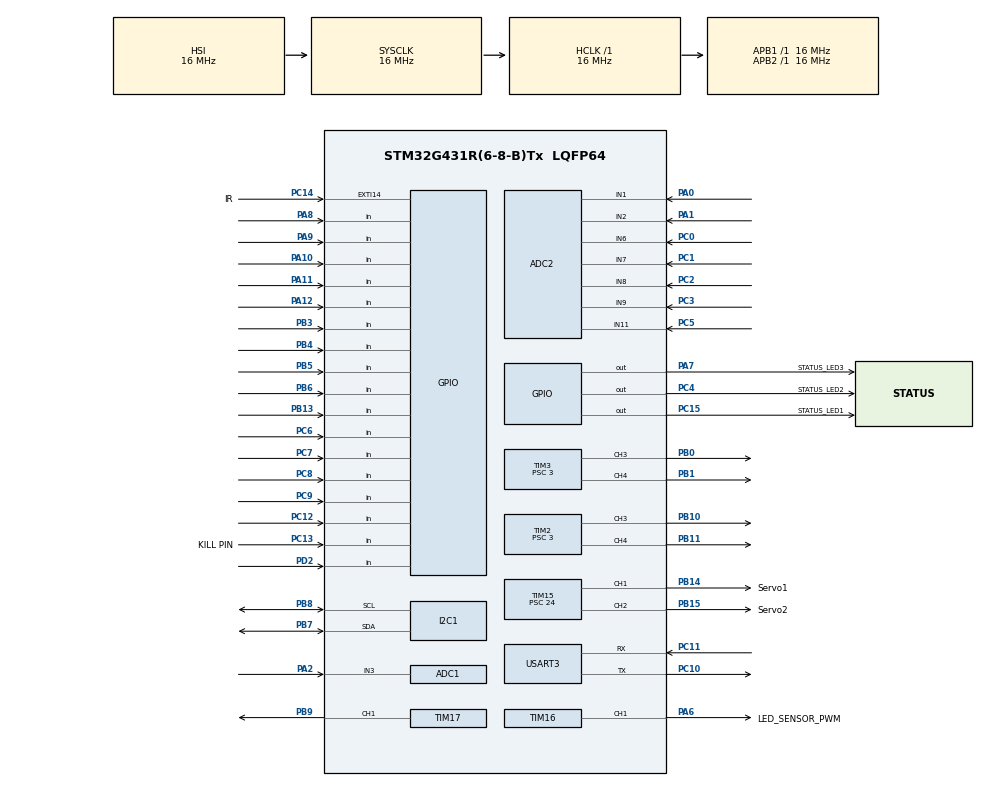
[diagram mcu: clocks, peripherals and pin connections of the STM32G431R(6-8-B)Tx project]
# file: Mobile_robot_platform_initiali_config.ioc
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ADC1.Channel-1\#ChannelRegularConversion=ADC_CHANNEL_3
ADC1.NbrOfConversionFlag=1
ADC1.OffsetNumber-1\#ChannelRegularConversion=ADC_OFFSET_NONE
ADC1.Rank-1\#ChannelRegularConversion=1
ADC1.SamplingTime-1\#ChannelRegularConversion=ADC_SAMPLETIME_2CYCLES_5
ADC1.master=1
ADC2.Channel-1\#ChannelRegularConversion=ADC_CHANNEL_1
ADC2.NbrOfConversionFlag=1
ADC2.OffsetNumber-1\#ChannelRegularConversion=ADC_OFFSET_NONE
ADC2.Rank-1\#ChannelRegularConversion=1
ADC2.SamplingTime-1\#ChannelRegularConversion=ADC_SAMPLETIME_2CYCLES_5
I2C1.Timing=0x00503D58
Mcu.Family=STM32G4
Mcu.Name=STM32G431R(6-8-B)Tx
Mcu.Package=LQFP64
NVIC.PriorityGroup=NVIC_PRIORITYGROUP_4
PA0.Mode=IN1-Single-Ended
PA0.Signal=ADC2_IN1
PA1.Mode=IN2-Single-Ended
PA1.Signal=ADC2_IN2
PA10.Signal=GPIO_Input
PA11.Signal=GPIO_Input
PA12.Signal=GPIO_Input
PA13.Mode=Serial_Wire
PA13.Signal=SYS_JTMS-SWDIO
PA14.Mode=Serial_Wire
PA14.Signal=SYS_JTCK-SWCLK
PA15.Signal=SYS_JTDI
PA2.Mode=IN3-Single-Ended
PA2.Signal=ADC1_IN3
PA3.Signal=ADC1_IN4
PA4.Signal=COMP_DAC11_group
PA5.Signal=COMP_DAC12_group
PA6.GPIO_Label=LED_SENSOR_PWM
PA6.Signal=S_TIM16_CH1
PA7.GPIO_Label=STATUS_LED3
PA7.Signal=GPIO_Output
PA8.Signal=GPIO_Input
PA9.Signal=GPIO_Input
PB0.Signal=S_TIM3_CH3
PB1.Signal=S_TIM3_CH4
PB10.Signal=S_TIM2_CH3
PB11.Signal=S_TIM2_CH4
PB12.Signal=ADC1_IN11
PB13.Signal=GPIO_Input
PB14.GPIO_Label=Servo1
PB14.Signal=S_TIM15_CH1
PB15.GPIO_Label=Servo2
PB15.Signal=S_TIM15_CH2
PB2.GPIO_Label=V_VHK
PB2.Signal=ADC2_IN12
PB3.Signal=GPIO_Input
PB4.Signal=GPIO_Input
PB5.Signal=GPIO_Input
PB6.Signal=GPIO_Input
PB7.Mode=I2C
PB7.Signal=I2C1_SDA
PB8-BOOT0.Mode=I2C
PB8-BOOT0.Signal=I2C1_SCL
PB9.Signal=S_TIM17_CH1
PC0.Mode=IN6-Single-Ended
PC0.Signal=ADC2_IN6
PC1.Mode=IN7-Single-Ended
PC1.Signal=ADC2_IN7
PC10.Mode=Asynchronous
PC10.Signal=USART3_TX
PC11.Mode=Asynchronous
PC11.Signal=USART3_RX
PC12.Signal=GPIO_Input
PC13.GPIO_Label=KILL PIN
PC13.Signal=GPIO_Input
PC14-OSC32_IN.GPIO_Label=IR
PC14-OSC32_IN.Signal=GPXTI14
PC15-OSC32_OUT.GPIO_Label=STATUS_LED1
PC15-OSC32_OUT.Signal=GPIO_Output
PC2.Mode=IN8-Single-Ended
PC2.Signal=ADC2_IN8
PC3.Mode=IN9-Single-Ended
PC3.Signal=ADC2_IN9
PC4.GPIO_Label=STATUS_LED2
PC4.Signal=GPIO_Output
PC5.Mode=IN11-Single-Ended
PC5.Signal=ADC2_IN11
PC6.Signal=GPIO_Input
PC7.Signal=GPIO_Input
PC8.Signal=GPIO_Input
PC9.Signal=GPIO_Input
PD2.Signal=GPIO_Input
ProjectManager.HeapSize=0x200
ProjectManager.StackSize=0x400
ProjectManager.TargetToolchain=STM32CubeIDE
RCC.AHBFreq_Value=16000000
RCC.APB1Freq_Value=16000000
RCC.APB1TimFreq_Value=16000000
RCC.APB2Freq_Value=16000000
RCC.APB2TimFreq_Value=16000000
RCC.CortexFreq_Value=16000000
RCC.EXTERNAL_CLOCK_VALUE=12288000
RCC.HCLKFreq_Value=16000000
RCC.HSE_VALUE=8000000
RCC.HSI48_VALUE=48000000
RCC.HSI_VALUE=16000000
RCC.LSE_VALUE=32768
RCC.SYSCLKFreq_VALUE=16000000
RCC.USBFreq_Value=64000000
RCC.VCOOutputFreq_Value=128000000
SH.COMP_DAC11_group.0=DAC1_OUT1
SH.COMP_DAC12_group.0=DAC1_OUT2
SH.S_TIM15_CH1.0=TIM15_CH1,PWM Generation1 CH1
SH.S_TIM15_CH2.0=TIM15_CH2,PWM Generation2 CH2
SH.S_TIM16_CH1.0=TIM16_CH1,PWM Generation1 CH1
SH.S_TIM17_CH1.0=TIM17_CH1,PWM Generation1 CH1
SH.S_TIM2_CH3.0=TIM2_CH3,PWM Generation3 CH3
SH.S_TIM2_CH4.0=TIM2_CH4,PWM Generation4 CH4
SH.S_TIM3_CH3.0=TIM3_CH3,PWM Generation3 CH3
SH.S_TIM3_CH4.0=TIM3_CH4,PWM Generation4 CH4
TIM15.Channel-PWM\ Generation1\ CH1=TIM_CHANNEL_1
TIM15.Channel-PWM\ Generation2\ CH2=TIM_CHANNEL_2
TIM15.PeriodNoDither=2000
TIM15.Prescaler=24
TIM15.PulseNoDither_1=1000
TIM15.PulseNoDither_2=500
TIM16.Channel=TIM_CHANNEL_1
TIM16.PeriodNoDither=2000
TIM16.Prescaler=7
TIM16.PulseNoDither_1=1000
TIM17.Channel=TIM_CHANNEL_1
TIM2.Channel-PWM\ Generation3\ CH3=TIM_CHANNEL_3
TIM2.Channel-PWM\ Generation4\ CH4=TIM_CHANNEL_4
TIM2.PeriodNoDither=2000
TIM2.Prescaler=3
TIM3.Channel-PWM\ Generation3\ CH3=TIM_CHANNEL_3
TIM3.Channel-PWM\ Generation4\ CH4=TIM_CHANNEL_4
TIM3.PeriodNoDither=2000
TIM3.Prescaler=3
TIM3.PulseNoDither_3=1000
TIM3.PulseNoDither_4=1000
USART3.VirtualMode-Asynchronous=VM_ASYNC
VP_SYS_VS_DBSignals.Mode=DisableDeadBatterySignals
VP_TIM16_VS_ClockSourceINT.Mode=Enable_Timer
VP_TIM17_VS_ClockSourceINT.Mode=Enable_Timer
board=custom

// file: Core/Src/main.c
/* USER CODE BEGIN Header */
/**
 ******************************************************************************
 * @file           : main.c
 * @brief          : Main program body
 ******************************************************************************
 * @attention
 *
 * Copyright (c) 2025 STMicroelectronics.
 * All rights reserved.
 *
 * This software is licensed under terms that can be found in the LICENSE file
 * in the root directory of this software component.
 * If no LICENSE file comes with this software, it is provided AS-IS.
 *
 ******************************************************************************
 */
/* USER CODE END Header */
#include "main.h"

/* USER CODE BEGIN Includes */
#include <string.h>
/* USER CODE END Includes */

/* USER CODE BEGIN PTD */
uint16_t MOTOR_A = 1000;
uint16_t MOTOR_B = 0;

uint16_t SERVO_A = 1000;
uint16_t SERVO_B = 0;

uint8_t rising_flag_A = 1;
uint8_t rising_flag_B = 1;
/* USER CODE END PTD */

ADC_HandleTypeDef hadc1;
ADC_HandleTypeDef hadc2;

I2C_HandleTypeDef hi2c1;

TIM_HandleTypeDef htim2;
TIM_HandleTypeDef htim3;
TIM_HandleTypeDef htim15;
TIM_HandleTypeDef htim16;
TIM_HandleTypeDef htim17;

UART_HandleTypeDef huart3;

void SystemClock_Config(void);
static void MX_GPIO_Init(void);
static void MX_ADC2_Init(void);
static void MX_ADC1_Init(void);
static void MX_I2C1_Init(void);
static void MX_TIM17_Init(void);
static void MX_USART3_UART_Init(void);
static void MX_TIM3_Init(void);
static void MX_TIM15_Init(void);
static void MX_TIM16_Init(void);
static void MX_TIM2_Init(void);

/* USER CODE BEGIN 0 */
void send_string(char *s) {
	HAL_UART_Transmit(&huart3, (uint8_t*) s, strlen(s), 1000);
}
/* USER CODE END 0 */

int main(void) {

	/* MCU Configuration--------------------------------------------------------*/

	/* Reset of all peripherals, Initializes the Flash interface and the Systick. */
	HAL_Init();

	/* Configure the system clock */
	SystemClock_Config();

	/* Initialize all configured peripherals */
	MX_GPIO_Init();
	MX_ADC2_Init();
	MX_ADC1_Init();
	MX_I2C1_Init();
	MX_TIM17_Init();
	MX_USART3_UART_Init();
	MX_TIM3_Init();
	MX_TIM15_Init();
	MX_TIM16_Init();
	MX_TIM2_Init();
	/* USER CODE BEGIN 2 */
	//MOTOR A
	HAL_TIM_PWM_Start(&htim3, TIM_CHANNEL_3);
	HAL_TIM_PWM_Start(&htim3, TIM_CHANNEL_4);

	//MOTOR B
	HAL_TIM_PWM_Start(&htim2, TIM_CHANNEL_3);
	HAL_TIM_PWM_Start(&htim2, TIM_CHANNEL_4);
	//SERVO
	HAL_TIM_PWM_Start(&htim15, TIM_CHANNEL_1);
	HAL_TIM_PWM_Start(&htim15, TIM_CHANNEL_2);

	//OUTPUT IR SENSOR MODULE
	HAL_TIM_PWM_Start(&htim16, TIM_CHANNEL_1);

	/* USER CODE END 2 */

	/* Infinite loop */
	while (1) {

		/* USER CODE BEGIN 3 */
		send_string("Hello world!\r\n");

//HAL_Delay(1000);
		__HAL_TIM_SET_COMPARE(&htim3, TIM_CHANNEL_3, MOTOR_A);
		__HAL_TIM_SET_COMPARE(&htim3, TIM_CHANNEL_4, 0);

		__HAL_TIM_SET_COMPARE(&htim2, TIM_CHANNEL_3, MOTOR_B);
		__HAL_TIM_SET_COMPARE(&htim2, TIM_CHANNEL_4, 0);

		__HAL_TIM_SET_COMPARE(&htim15, TIM_CHANNEL_1, SERVO_A);
		__HAL_TIM_SET_COMPARE(&htim15, TIM_CHANNEL_2, SERVO_B);

		if(1==rising_flag_A )
		{
			SERVO_A += 1;
			MOTOR_A += 1;
		}
		else
		{
			SERVO_A -= 1;
			MOTOR_A -= 1;
		}
		if(1==rising_flag_B )
		{
			SERVO_B += 1;
			MOTOR_B += 1;
		}
		else
		{
			SERVO_B -= 1;
			MOTOR_B -= 1;
		}

		HAL_Delay(1);

		if (SERVO_A > 2000) {
			rising_flag_A = 0;

		}
		else if(SERVO_A < 1)
		{
			rising_flag_A = 1;
		}

		if (SERVO_B > 2000) {
			rising_flag_B = 0;

		}
		else if(SERVO_B < 1)
		{
			rising_flag_B = 1;
		}

	}
	/* USER CODE END 3 */
}

void SystemClock_Config(void) {
	RCC_OscInitTypeDef RCC_OscInitStruct = { 0 };
	RCC_ClkInitTypeDef RCC_ClkInitStruct = { 0 };

	/** Configure the main internal regulator output voltage
	 */
	HAL_PWREx_ControlVoltageScaling(PWR_REGULATOR_VOLTAGE_SCALE1);

	/** Initializes the RCC Oscillators according to the specified parameters
	 * in the RCC_OscInitTypeDef structure.
	 */
	RCC_OscInitStruct.OscillatorType = RCC_OSCILLATORTYPE_HSI;
	RCC_OscInitStruct.HSIState = RCC_HSI_ON;
	RCC_OscInitStruct.HSICalibrationValue = RCC_HSICALIBRATION_DEFAULT;
	RCC_OscInitStruct.PLL.PLLState = RCC_PLL_NONE;
	if (HAL_RCC_OscConfig(&RCC_OscInitStruct) != HAL_OK) {
		Error_Handler();
	}

	/** Initializes the CPU, AHB and APB buses clocks
	 */
	RCC_ClkInitStruct.ClockType = RCC_CLOCKTYPE_HCLK | RCC_CLOCKTYPE_SYSCLK
			| RCC_CLOCKTYPE_PCLK1 | RCC_CLOCKTYPE_PCLK2;
	RCC_ClkInitStruct.SYSCLKSource = RCC_SYSCLKSOURCE_HSI;
	RCC_ClkInitStruct.AHBCLKDivider = RCC_SYSCLK_DIV1;
	RCC_ClkInitStruct.APB1CLKDivider = RCC_HCLK_DIV1;
	RCC_ClkInitStruct.APB2CLKDivider = RCC_HCLK_DIV1;

	if (HAL_RCC_ClockConfig(&RCC_ClkInitStruct, FLASH_LATENCY_0) != HAL_OK) {
		Error_Handler();
	}
}

static void MX_ADC1_Init(void) {

	ADC_MultiModeTypeDef multimode = { 0 };
	ADC_ChannelConfTypeDef sConfig = { 0 };

	/** Common config
	 */
	hadc1.Instance = ADC1;
	hadc1.Init.ClockPrescaler = ADC_CLOCK_SYNC_PCLK_DIV2;
	hadc1.Init.Resolution = ADC_RESOLUTION_12B;
	hadc1.Init.DataAlign = ADC_DATAALIGN_RIGHT;
	hadc1.Init.GainCompensation = 0;
	hadc1.Init.ScanConvMode = ADC_SCAN_DISABLE;
	hadc1.Init.EOCSelection = ADC_EOC_SINGLE_CONV;
	hadc1.Init.LowPowerAutoWait = DISABLE;
	hadc1.Init.ContinuousConvMode = DISABLE;
	hadc1.Init.NbrOfConversion = 1;
	hadc1.Init.DiscontinuousConvMode = DISABLE;
	hadc1.Init.ExternalTrigConv = ADC_SOFTWARE_START;
	hadc1.Init.ExternalTrigConvEdge = ADC_EXTERNALTRIGCONVEDGE_NONE;
	hadc1.Init.DMAContinuousRequests = DISABLE;
	hadc1.Init.Overrun = ADC_OVR_DATA_PRESERVED;
	hadc1.Init.OversamplingMode = DISABLE;
	if (HAL_ADC_Init(&hadc1) != HAL_OK) {
		Error_Handler();
	}

	/** Configure the ADC multi-mode
	 */
	multimode.Mode = ADC_MODE_INDEPENDENT;
	if (HAL_ADCEx_MultiModeConfigChannel(&hadc1, &multimode) != HAL_OK) {
		Error_Handler();
	}

	/** Configure Regular Channel
	 */
	sConfig.Channel = ADC_CHANNEL_3;
	sConfig.Rank = ADC_REGULAR_RANK_1;
	sConfig.SamplingTime = ADC_SAMPLETIME_2CYCLES_5;
	sConfig.SingleDiff = ADC_SINGLE_ENDED;
	sConfig.OffsetNumber = ADC_OFFSET_NONE;
	sConfig.Offset = 0;
	if (HAL_ADC_ConfigChannel(&hadc1, &sConfig) != HAL_OK) {
		Error_Handler();
	}

}

static void MX_ADC2_Init(void) {

	ADC_ChannelConfTypeDef sConfig = { 0 };

	/** Common config
	 */
	hadc2.Instance = ADC2;
	hadc2.Init.ClockPrescaler = ADC_CLOCK_SYNC_PCLK_DIV2;
	hadc2.Init.Resolution = ADC_RESOLUTION_12B;
	hadc2.Init.DataAlign = ADC_DATAALIGN_RIGHT;
	hadc2.Init.GainCompensation = 0;
	hadc2.Init.ScanConvMode = ADC_SCAN_DISABLE;
	hadc2.Init.EOCSelection = ADC_EOC_SINGLE_CONV;
	hadc2.Init.LowPowerAutoWait = DISABLE;
	hadc2.Init.ContinuousConvMode = DISABLE;
	hadc2.Init.NbrOfConversion = 1;
	hadc2.Init.DiscontinuousConvMode = DISABLE;
	hadc2.Init.ExternalTrigConv = ADC_SOFTWARE_START;
	hadc2.Init.ExternalTrigConvEdge = ADC_EXTERNALTRIGCONVEDGE_NONE;
	hadc2.Init.DMAContinuousRequests = DISABLE;
	hadc2.Init.Overrun = ADC_OVR_DATA_PRESERVED;
	hadc2.Init.OversamplingMode = DISABLE;
	if (HAL_ADC_Init(&hadc2) != HAL_OK) {
		Error_Handler();
	}

	/** Configure Regular Channel
	 */
	sConfig.Channel = ADC_CHANNEL_1;
	sConfig.Rank = ADC_REGULAR_RANK_1;
	sConfig.SamplingTime = ADC_SAMPLETIME_2CYCLES_5;
	sConfig.SingleDiff = ADC_SINGLE_ENDED;
	sConfig.OffsetNumber = ADC_OFFSET_NONE;
	sConfig.Offset = 0;
	if (HAL_ADC_ConfigChannel(&hadc2, &sConfig) != HAL_OK) {
		Error_Handler();
	}

}

static void MX_I2C1_Init(void) {

	hi2c1.Instance = I2C1;
	hi2c1.Init.Timing = 0x00503D58;
	hi2c1.Init.OwnAddress1 = 0;
	hi2c1.Init.AddressingMode = I2C_ADDRESSINGMODE_7BIT;
	hi2c1.Init.DualAddressMode = I2C_DUALADDRESS_DISABLE;
	hi2c1.Init.OwnAddress2 = 0;
	hi2c1.Init.OwnAddress2Masks = I2C_OA2_NOMASK;
	hi2c1.Init.GeneralCallMode = I2C_GENERALCALL_DISABLE;
	hi2c1.Init.NoStretchMode = I2C_NOSTRETCH_DISABLE;
	if (HAL_I2C_Init(&hi2c1) != HAL_OK) {
		Error_Handler();
	}

	/** Configure Analogue filter
	 */
	if (HAL_I2CEx_ConfigAnalogFilter(&hi2c1, I2C_ANALOGFILTER_ENABLE)
			!= HAL_OK) {
		Error_Handler();
	}

	/** Configure Digital filter
	 */
	if (HAL_I2CEx_ConfigDigitalFilter(&hi2c1, 0) != HAL_OK) {
		Error_Handler();
	}

}

static void MX_TIM2_Init(void) {

	TIM_MasterConfigTypeDef sMasterConfig = { 0 };
	TIM_OC_InitTypeDef sConfigOC = { 0 };

	htim2.Instance = TIM2;
	htim2.Init.Prescaler = 3;
	htim2.Init.CounterMode = TIM_COUNTERMODE_UP;
	htim2.Init.Period = 2000;
	htim2.Init.ClockDivision = TIM_CLOCKDIVISION_DIV1;
	htim2.Init.AutoReloadPreload = TIM_AUTORELOAD_PRELOAD_DISABLE;
	if (HAL_TIM_PWM_Init(&htim2) != HAL_OK) {
		Error_Handler();
	}
	sMasterConfig.MasterOutputTrigger = TIM_TRGO_RESET;
	sMasterConfig.MasterSlaveMode = TIM_MASTERSLAVEMODE_DISABLE;
	if (HAL_TIMEx_MasterConfigSynchronization(&htim2, &sMasterConfig)
			!= HAL_OK) {
		Error_Handler();
	}
	sConfigOC.OCMode = TIM_OCMODE_PWM1;
	sConfigOC.Pulse = 0;
	sConfigOC.OCPolarity = TIM_OCPOLARITY_HIGH;
	sConfigOC.OCFastMode = TIM_OCFAST_DISABLE;
	if (HAL_TIM_PWM_ConfigChannel(&htim2, &sConfigOC, TIM_CHANNEL_3)
			!= HAL_OK) {
		Error_Handler();
	}
	if (HAL_TIM_PWM_ConfigChannel(&htim2, &sConfigOC, TIM_CHANNEL_4)
			!= HAL_OK) {
		Error_Handler();
	}
	HAL_TIM_MspPostInit(&htim2);

}

static void MX_TIM3_Init(void) {

	TIM_MasterConfigTypeDef sMasterConfig = { 0 };
	TIM_OC_InitTypeDef sConfigOC = { 0 };

	htim3.Instance = TIM3;
	htim3.Init.Prescaler = 3;
	htim3.Init.CounterMode = TIM_COUNTERMODE_UP;
	htim3.Init.Period = 2000;
	htim3.Init.ClockDivision = TIM_CLOCKDIVISION_DIV1;
	htim3.Init.AutoReloadPreload = TIM_AUTORELOAD_PRELOAD_DISABLE;
	if (HAL_TIM_PWM_Init(&htim3) != HAL_OK) {
		Error_Handler();
	}
	sMasterConfig.MasterOutputTrigger = TIM_TRGO_RESET;
	sMasterConfig.MasterSlaveMode = TIM_MASTERSLAVEMODE_DISABLE;
	if (HAL_TIMEx_MasterConfigSynchronization(&htim3, &sMasterConfig)
			!= HAL_OK) {
		Error_Handler();
	}
	sConfigOC.OCMode = TIM_OCMODE_PWM1;
	sConfigOC.Pulse = 1000;
	sConfigOC.OCPolarity = TIM_OCPOLARITY_HIGH;
	sConfigOC.OCFastMode = TIM_OCFAST_DISABLE;
	if (HAL_TIM_PWM_ConfigChannel(&htim3, &sConfigOC, TIM_CHANNEL_3)
			!= HAL_OK) {
		Error_Handler();
	}
	if (HAL_TIM_PWM_ConfigChannel(&htim3, &sConfigOC, TIM_CHANNEL_4)
			!= HAL_OK) {
		Error_Handler();
	}
	HAL_TIM_MspPostInit(&htim3);

}

static void MX_TIM15_Init(void) {

	TIM_MasterConfigTypeDef sMasterConfig = { 0 };
	TIM_OC_InitTypeDef sConfigOC = { 0 };
	TIM_BreakDeadTimeConfigTypeDef sBreakDeadTimeConfig = { 0 };

	htim15.Instance = TIM15;
	htim15.Init.Prescaler = 24;
	htim15.Init.CounterMode = TIM_COUNTERMODE_UP;
	htim15.Init.Period = 2000;
	htim15.Init.ClockDivision = TIM_CLOCKDIVISION_DIV1;
	htim15.Init.RepetitionCounter = 0;
	htim15.Init.AutoReloadPreload = TIM_AUTORELOAD_PRELOAD_DISABLE;
	if (HAL_TIM_PWM_Init(&htim15) != HAL_OK) {
		Error_Handler();
	}
	sMasterConfig.MasterOutputTrigger = TIM_TRGO_RESET;
	sMasterConfig.MasterSlaveMode = TIM_MASTERSLAVEMODE_DISABLE;
	if (HAL_TIMEx_MasterConfigSynchronization(&htim15, &sMasterConfig)
			!= HAL_OK) {
		Error_Handler();
	}
	sConfigOC.OCMode = TIM_OCMODE_PWM1;
	sConfigOC.Pulse = 1000;
	sConfigOC.OCPolarity = TIM_OCPOLARITY_HIGH;
	sConfigOC.OCNPolarity = TIM_OCNPOLARITY_HIGH;
	sConfigOC.OCFastMode = TIM_OCFAST_DISABLE;
	sConfigOC.OCIdleState = TIM_OCIDLESTATE_RESET;
	sConfigOC.OCNIdleState = TIM_OCNIDLESTATE_RESET;
	if (HAL_TIM_PWM_ConfigChannel(&htim15, &sConfigOC, TIM_CHANNEL_1)
			!= HAL_OK) {
		Error_Handler();
	}
	sConfigOC.Pulse = 500;
	if (HAL_TIM_PWM_ConfigChannel(&htim15, &sConfigOC, TIM_CHANNEL_2)
			!= HAL_OK) {
		Error_Handler();
	}
	sBreakDeadTimeConfig.OffStateRunMode = TIM_OSSR_DISABLE;
	sBreakDeadTimeConfig.OffStateIDLEMode = TIM_OSSI_DISABLE;
	sBreakDeadTimeConfig.LockLevel = TIM_LOCKLEVEL_OFF;
	sBreakDeadTimeConfig.DeadTime = 0;
	sBreakDeadTimeConfig.BreakState = TIM_BREAK_DISABLE;
	sBreakDeadTimeConfig.BreakPolarity = TIM_BREAKPOLARITY_HIGH;
	sBreakDeadTimeConfig.BreakFilter = 0;
	sBreakDeadTimeConfig.AutomaticOutput = TIM_AUTOMATICOUTPUT_DISABLE;
	if (HAL_TIMEx_ConfigBreakDeadTime(&htim15, &sBreakDeadTimeConfig)
			!= HAL_OK) {
		Error_Handler();
	}
	HAL_TIM_MspPostInit(&htim15);

}

static void MX_TIM16_Init(void) {

	TIM_OC_InitTypeDef sConfigOC = { 0 };
	TIM_BreakDeadTimeConfigTypeDef sBreakDeadTimeConfig = { 0 };

	htim16.Instance = TIM16;
	htim16.Init.Prescaler = 7;
	htim16.Init.CounterMode = TIM_COUNTERMODE_UP;
	htim16.Init.Period = 2000;
	htim16.Init.ClockDivision = TIM_CLOCKDIVISION_DIV1;
	htim16.Init.RepetitionCounter = 0;
	htim16.Init.AutoReloadPreload = TIM_AUTORELOAD_PRELOAD_DISABLE;
	if (HAL_TIM_Base_Init(&htim16) != HAL_OK) {
		Error_Handler();
	}
	if (HAL_TIM_PWM_Init(&htim16) != HAL_OK) {
		Error_Handler();
	}
	sConfigOC.OCMode = TIM_OCMODE_PWM1;
	sConfigOC.Pulse = 1000;
	sConfigOC.OCPolarity = TIM_OCPOLARITY_HIGH;
	sConfigOC.OCNPolarity = TIM_OCNPOLARITY_HIGH;
	sConfigOC.OCFastMode = TIM_OCFAST_DISABLE;
	sConfigOC.OCIdleState = TIM_OCIDLESTATE_RESET;
	sConfigOC.OCNIdleState = TIM_OCNIDLESTATE_RESET;
	if (HAL_TIM_PWM_ConfigChannel(&htim16, &sConfigOC, TIM_CHANNEL_1)
			!= HAL_OK) {
		Error_Handler();
	}
	sBreakDeadTimeConfig.OffStateRunMode = TIM_OSSR_DISABLE;
	sBreakDeadTimeConfig.OffStateIDLEMode = TIM_OSSI_DISABLE;
	sBreakDeadTimeConfig.LockLevel = TIM_LOCKLEVEL_OFF;
	sBreakDeadTimeConfig.DeadTime = 0;
	sBreakDeadTimeConfig.BreakState = TIM_BREAK_DISABLE;
	sBreakDeadTimeConfig.BreakPolarity = TIM_BREAKPOLARITY_HIGH;
	sBreakDeadTimeConfig.BreakFilter = 0;
	sBreakDeadTimeConfig.AutomaticOutput = TIM_AUTOMATICOUTPUT_DISABLE;
	if (HAL_TIMEx_ConfigBreakDeadTime(&htim16, &sBreakDeadTimeConfig)
			!= HAL_OK) {
		Error_Handler();
	}
	HAL_TIM_MspPostInit(&htim16);

}

static void MX_TIM17_Init(void) {

	TIM_OC_InitTypeDef sConfigOC = { 0 };
	TIM_BreakDeadTimeConfigTypeDef sBreakDeadTimeConfig = { 0 };

	htim17.Instance = TIM17;
	htim17.Init.Prescaler = 0;
	htim17.Init.CounterMode = TIM_COUNTERMODE_UP;
	htim17.Init.Period = 65535;
	htim17.Init.ClockDivision = TIM_CLOCKDIVISION_DIV1;
	htim17.Init.RepetitionCounter = 0;
	htim17.Init.AutoReloadPreload = TIM_AUTORELOAD_PRELOAD_DISABLE;
	if (HAL_TIM_Base_Init(&htim17) != HAL_OK) {
		Error_Handler();
	}
	if (HAL_TIM_PWM_Init(&htim17) != HAL_OK) {
		Error_Handler();
	}
	sConfigOC.OCMode = TIM_OCMODE_PWM1;
	sConfigOC.Pulse = 0;
	sConfigOC.OCPolarity = TIM_OCPOLARITY_HIGH;
	sConfigOC.OCNPolarity = TIM_OCNPOLARITY_HIGH;
	sConfigOC.OCFastMode = TIM_OCFAST_DISABLE;
	sConfigOC.OCIdleState = TIM_OCIDLESTATE_RESET;
	sConfigOC.OCNIdleState = TIM_OCNIDLESTATE_RESET;
	if (HAL_TIM_PWM_ConfigChannel(&htim17, &sConfigOC, TIM_CHANNEL_1)
			!= HAL_OK) {
		Error_Handler();
	}
	sBreakDeadTimeConfig.OffStateRunMode = TIM_OSSR_DISABLE;
	sBreakDeadTimeConfig.OffStateIDLEMode = TIM_OSSI_DISABLE;
	sBreakDeadTimeConfig.LockLevel = TIM_LOCKLEVEL_OFF;
	sBreakDeadTimeConfig.DeadTime = 0;
	sBreakDeadTimeConfig.BreakState = TIM_BREAK_DISABLE;
	sBreakDeadTimeConfig.BreakPolarity = TIM_BREAKPOLARITY_HIGH;
	sBreakDeadTimeConfig.BreakFilter = 0;
	sBreakDeadTimeConfig.AutomaticOutput = TIM_AUTOMATICOUTPUT_DISABLE;
	if (HAL_TIMEx_ConfigBreakDeadTime(&htim17, &sBreakDeadTimeConfig)
			!= HAL_OK) {
		Error_Handler();
	}
	HAL_TIM_MspPostInit(&htim17);

}

static void MX_USART3_UART_Init(void) {

	huart3.Instance = USART3;
	huart3.Init.BaudRate = 115200;
	huart3.Init.WordLength = UART_WORDLENGTH_8B;
	huart3.Init.StopBits = UART_STOPBITS_1;
	huart3.Init.Parity = UART_PARITY_NONE;
	huart3.Init.Mode = UART_MODE_TX_RX;
	huart3.Init.HwFlowCtl = UART_HWCONTROL_NONE;
	huart3.Init.OverSampling = UART_OVERSAMPLING_16;
	huart3.Init.OneBitSampling = UART_ONE_BIT_SAMPLE_DISABLE;
	huart3.Init.ClockPrescaler = UART_PRESCALER_DIV1;
	huart3.AdvancedInit.AdvFeatureInit = UART_ADVFEATURE_NO_INIT;
	if (HAL_UART_Init(&huart3) != HAL_OK) {
		Error_Handler();
	}
	if (HAL_UARTEx_SetTxFifoThreshold(&huart3, UART_TXFIFO_THRESHOLD_1_8)
			!= HAL_OK) {
		Error_Handler();
	}
	if (HAL_UARTEx_SetRxFifoThreshold(&huart3, UART_RXFIFO_THRESHOLD_1_8)
			!= HAL_OK) {
		Error_Handler();
	}
	if (HAL_UARTEx_DisableFifoMode(&huart3) != HAL_OK) {
		Error_Handler();
	}

}

static void MX_GPIO_Init(void) {
	GPIO_InitTypeDef GPIO_InitStruct = { 0 };

	/* GPIO Ports Clock Enable */
	__HAL_RCC_GPIOC_CLK_ENABLE();
	__HAL_RCC_GPIOA_CLK_ENABLE();
	__HAL_RCC_GPIOB_CLK_ENABLE();
	__HAL_RCC_GPIOD_CLK_ENABLE();

	/*Configure GPIO pin Output Level */
	HAL_GPIO_WritePin(GPIOC, STATUS_LED1_Pin | STATUS_LED2_Pin, GPIO_PIN_RESET);

	/*Configure GPIO pin Output Level */
	HAL_GPIO_WritePin(STATUS_LED3_GPIO_Port, STATUS_LED3_Pin, GPIO_PIN_RESET);

	/*Configure GPIO pins : KILL_PIN_Pin PC6 PC7 PC8
	 PC9 PC12 */
	GPIO_InitStruct.Pin = KILL_PIN_Pin | GPIO_PIN_6 | GPIO_PIN_7 | GPIO_PIN_8
			| GPIO_PIN_9 | GPIO_PIN_12;
	GPIO_InitStruct.Mode = GPIO_MODE_INPUT;
	GPIO_InitStruct.Pull = GPIO_NOPULL;
	HAL_GPIO_Init(GPIOC, &GPIO_InitStruct);

	/*Configure GPIO pin : IR_Pin */
	GPIO_InitStruct.Pin = IR_Pin;
	GPIO_InitStruct.Mode = GPIO_MODE_IT_RISING;
	GPIO_InitStruct.Pull = GPIO_NOPULL;
	HAL_GPIO_Init(IR_GPIO_Port, &GPIO_InitStruct);

	/*Configure GPIO pins : STATUS_LED1_Pin STATUS_LED2_Pin */
	GPIO_InitStruct.Pin = STATUS_LED1_Pin | STATUS_LED2_Pin;
	GPIO_InitStruct.Mode = GPIO_MODE_OUTPUT_PP;
	GPIO_InitStruct.Pull = GPIO_NOPULL;
	GPIO_InitStruct.Speed = GPIO_SPEED_FREQ_LOW;
	HAL_GPIO_Init(GPIOC, &GPIO_InitStruct);

	/*Configure GPIO pins : PA4 PA5 */
	GPIO_InitStruct.Pin = GPIO_PIN_4 | GPIO_PIN_5;
	GPIO_InitStruct.Mode = GPIO_MODE_ANALOG;
	GPIO_InitStruct.Pull = GPIO_NOPULL;
	HAL_GPIO_Init(GPIOA, &GPIO_InitStruct);

	/*Configure GPIO pin : STATUS_LED3_Pin */
	GPIO_InitStruct.Pin = STATUS_LED3_Pin;
	GPIO_InitStruct.Mode = GPIO_MODE_OUTPUT_PP;
	GPIO_InitStruct.Pull = GPIO_NOPULL;
	GPIO_InitStruct.Speed = GPIO_SPEED_FREQ_LOW;
	HAL_GPIO_Init(STATUS_LED3_GPIO_Port, &GPIO_InitStruct);

	/*Configure GPIO pins : PB13 PB3 PB4 PB5
	 PB6 */
	GPIO_InitStruct.Pin = GPIO_PIN_13 | GPIO_PIN_3 | GPIO_PIN_4 | GPIO_PIN_5
			| GPIO_PIN_6;
	GPIO_InitStruct.Mode = GPIO_MODE_INPUT;
	GPIO_InitStruct.Pull = GPIO_NOPULL;
	HAL_GPIO_Init(GPIOB, &GPIO_InitStruct);

	/*Configure GPIO pins : PA8 PA9 PA10 PA11
	 PA12 */
	GPIO_InitStruct.Pin = GPIO_PIN_8 | GPIO_PIN_9 | GPIO_PIN_10 | GPIO_PIN_11
			| GPIO_PIN_12;
	GPIO_InitStruct.Mode = GPIO_MODE_INPUT;
	GPIO_InitStruct.Pull = GPIO_NOPULL;
	HAL_GPIO_Init(GPIOA, &GPIO_InitStruct);

	/*Configure GPIO pin : PD2 */
	GPIO_InitStruct.Pin = GPIO_PIN_2;
	GPIO_InitStruct.Mode = GPIO_MODE_INPUT;
	GPIO_InitStruct.Pull = GPIO_NOPULL;
	HAL_GPIO_Init(GPIOD, &GPIO_InitStruct);

}

void Error_Handler(void) {
	__disable_irq();
	while (1) {
	}
}
